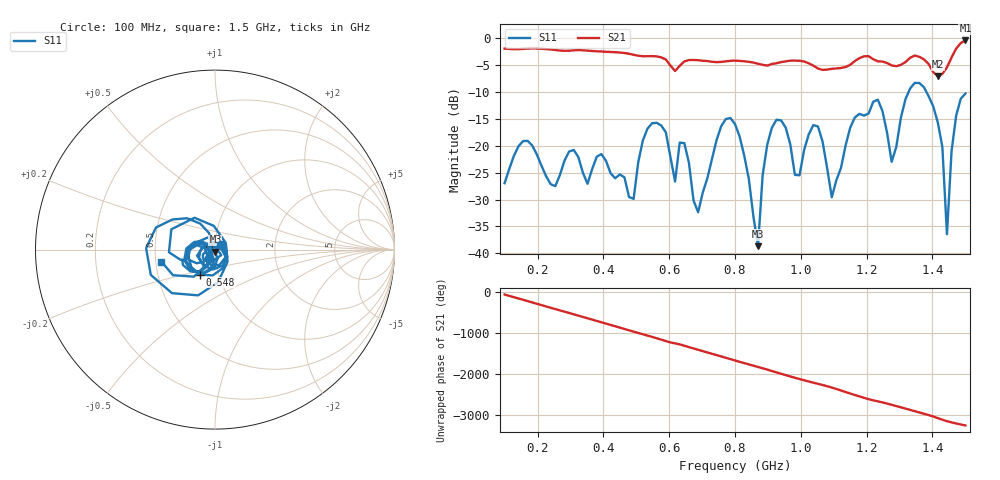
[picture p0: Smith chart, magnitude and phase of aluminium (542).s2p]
! NanoVNA-App
! Date: 2025-09-25 14:59:30
! Start: 100MHz Stop: 1,5GHz Points: 101
! S-Parameter data: F S11 S21 S12 S22
# Hz S RI R 50
!  Frequency  S11_Real  S11_Imag  S21_Real  S21_Imag  S12_Real  S12_Imag  S22_Real  S22_Imag
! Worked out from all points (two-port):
!   101 points, 100 MHz to 1.5 GHz, reference 50 ohm
!   highest |S21| = -0.40 dB at 1.5 GHz (marker M1); lowest = -7.1 dB at 1.416 GHz (marker M2)
!   |S21| within 3 dB of the highest: start of sweep to 565.2 MHz; 1.459 GHz to end of sweep (the widest 2 of 4)
!   lowest |S11| = -38.7 dB at 870 MHz (marker M3), VSWR 1.02, Z = 50.2 - j1.15 ohm
!   |S11| at or under -10 dB: start of sweep to 1.327 GHz; 1.382 GHz to end of sweep
!   S12 and S22 are empty: the file has one direction only
!   S11 on the Smith chart (normalised r, x): 100 MHz: 1.07, +0.06; 548 MHz: 0.82, -0.23; 1.5 GHz: 0.54, -0.08
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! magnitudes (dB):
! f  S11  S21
! 100 MHz  -27.0  -1.9
! 156 MHz  -19.1  -2.0
! 338 MHz  -25.0  -2.2
! 492 MHz  -29.9  -3.1
! 548 MHz  -15.8  -3.3
! 576 MHz  -16.2  -3.5
! 618 MHz  -26.6  -6.1
! 646 MHz  -19.5  -4.3
! 688 MHz  -32.4  -4.1
! 800 MHz  -16.0  -4.1
! 870 MHz  -38.7  -4.7
! 912 MHz  -16.6  -4.8
! 996 MHz  -25.5  -4.2
! 1.038 GHz  -16.1  -5.1
! 1.094 GHz  -29.6  -5.7
! 1.22 GHz  -11.8  -3.9
! 1.276 GHz  -23.0  -5.0
! 1.346 GHz  -8.3  -3.2
! 1.416 GHz  -15.6  -7.1
! 1.444 GHz  -36.4  -5.4
! 1.472 GHz  -14.4  -1.9
! 1.5 GHz  -10.3  -0.4
